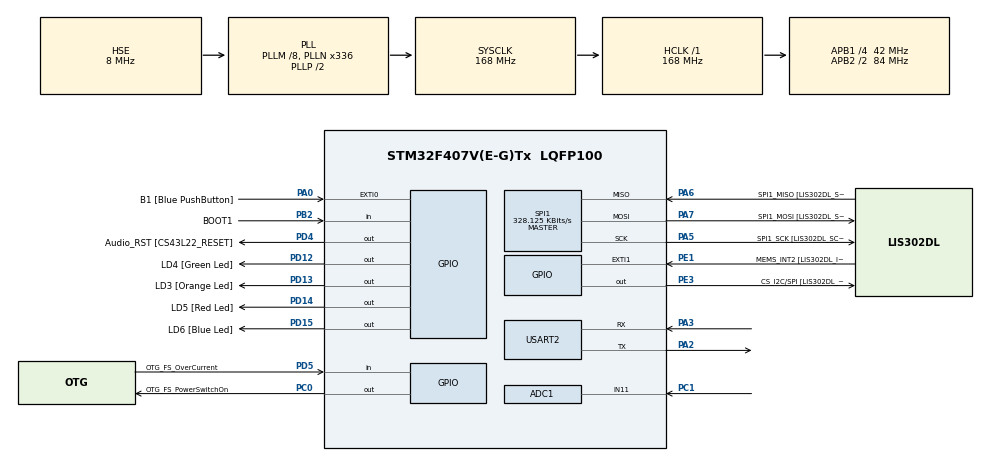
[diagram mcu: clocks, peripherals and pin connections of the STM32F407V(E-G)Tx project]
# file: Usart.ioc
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ADC1.Channel-0\#ChannelRegularConversion=ADC_CHANNEL_11
ADC1.ClockPrescaler=ADC_CLOCKPRESCALER_PCLK_DIV8
ADC1.ContinuousConvMode=DISABLE
ADC1.DMAContinuousRequests=ENABLE
ADC1.DataAlign=ADC_DATAALIGN_RIGHT
ADC1.DiscontinuousConvMode=DISABLE
ADC1.EOCSelection=EOC_SINGLE_CONV
ADC1.EnableAnalogWatchDog=false
ADC1.ExternalTrigConv=ADC_EXTERNALTRIGCONV_T2_TRGO
ADC1.ExternalTrigConvEdge=ADC_EXTERNALTRIGCONVEDGE_RISING
ADC1.InjNumberOfConversion=0
ADC1.NbrOfConversion=1
ADC1.NbrOfConversionFlag=1
ADC1.Rank-0\#ChannelRegularConversion=1
ADC1.Resolution=ADC_RESOLUTION12b
ADC1.SamplingTime-0\#ChannelRegularConversion=ADC_SAMPLETIME_3CYCLES
ADC1.ScanConvMode=DISABLE
ADC1.master=1
Dma.ADC1.0.Channel=DMA_CHANNEL_0
Dma.ADC1.0.Direction=DMA_PERIPH_TO_MEMORY
Dma.ADC1.0.FIFOMode=DMA_FIFOMODE_DISABLE
Dma.ADC1.0.Instance=DMA2_Stream0
Dma.ADC1.0.MemDataAlignment=DMA_MDATAALIGN_HALFWORD
Dma.ADC1.0.MemInc=DMA_MINC_ENABLE
Dma.ADC1.0.Mode=DMA_CIRCULAR
Dma.ADC1.0.PeriphDataAlignment=DMA_PDATAALIGN_HALFWORD
Dma.ADC1.0.PeriphInc=DMA_PINC_DISABLE
Dma.ADC1.0.Priority=DMA_PRIORITY_LOW
Dma.Request0=ADC1
Mcu.Family=STM32F4
Mcu.Name=STM32F407V(E-G)Tx
Mcu.Package=LQFP100
NVIC.DMA2_Stream0_IRQn=true\:0\:0\:false
NVIC.PriorityGroup=NVIC_PRIORITYGROUP_0
NVIC.TIM2_IRQn=true\:0\:0\:false
PA0-WKUP.GPIO_Label=B1 [Blue PushButton]
PA0-WKUP.GPIO_ModeDefaultEXTI=GPIO_MODE_EVT_RISING
PA0-WKUP.GPIO_PuPd=GPIO_NOPULL
PA0-WKUP.Signal=GPXTI0
PA10.GPIO_Label=OTG_FS_ID
PA10.GPIO_Mode=GPIO_MODE_AF_PP
PA10.GPIO_PuPd=GPIO_NOPULL
PA10.GPIO_Speed=GPIO_SPEED_LOW
PA10.Signal=USB_OTG_FS_ID
PA11.GPIO_Label=OTG_FS_DM
PA11.GPIO_Mode=GPIO_MODE_AF_PP
PA11.GPIO_PuPd=GPIO_NOPULL
PA11.GPIO_Speed=GPIO_SPEED_LOW
PA11.Signal=USB_OTG_FS_DM
PA12.GPIO_Label=OTG_FS_DP
PA12.GPIO_Mode=GPIO_MODE_AF_PP
PA12.GPIO_PuPd=GPIO_NOPULL
PA12.GPIO_Speed=GPIO_SPEED_LOW
PA12.Signal=USB_OTG_FS_DP
PA13.GPIO_Label=SWDIO
PA13.Mode=Trace-Asynchronous_SW
PA13.Signal=SYS_JTMS-SWDIO
PA14.GPIO_Label=SWCLK
PA14.Mode=Trace-Asynchronous_SW
PA14.Signal=SYS_JTCK-SWCLK
PA2.Mode=Asynchronous
PA2.Signal=USART2_TX
PA3.Mode=Asynchronous
PA3.Signal=USART2_RX
PA4.GPIO_Label=I2S3_WS [CS43L22_LRCK]
PA4.GPIO_Mode=GPIO_MODE_AF_PP
PA4.GPIO_PuPd=GPIO_NOPULL
PA4.GPIO_Speed=GPIO_SPEED_LOW
PA4.Signal=I2S3_WS
PA5.GPIO_Label=SPI1_SCK [LIS302DL_SCL/SPC]
PA5.GPIO_Mode=GPIO_MODE_AF_PP
PA5.GPIO_PuPd=GPIO_PULLUP
PA5.GPIO_Speed=GPIO_SPEED_LOW
PA5.Mode=Full_Duplex_Master
PA5.Signal=SPI1_SCK
PA6.GPIO_Label=SPI1_MISO [LIS302DL_SDO]
PA6.GPIO_Mode=GPIO_MODE_AF_PP
PA6.GPIO_PuPd=GPIO_PULLUP
PA6.GPIO_Speed=GPIO_SPEED_LOW
PA6.Mode=Full_Duplex_Master
PA6.Signal=SPI1_MISO
PA7.GPIO_Label=SPI1_MOSI [LIS302DL_SDA/SDI/SDO]
PA7.GPIO_Mode=GPIO_MODE_AF_PP
PA7.GPIO_PuPd=GPIO_PULLUP
PA7.GPIO_Speed=GPIO_SPEED_LOW
PA7.Mode=Full_Duplex_Master
PA7.Signal=SPI1_MOSI
PA9.GPIO_Label=VBUS_FS
PA9.GPIO_Mode=GPIO_MODE_INPUT
PA9.GPIO_PuPd=GPIO_NOPULL
PA9.Signal=USB_OTG_FS_VBUS
PB10.GPIO_Label=CLK_IN [MP45DT02_CLK]
PB10.GPIO_Mode=GPIO_MODE_AF_PP
PB10.GPIO_PuPd=GPIO_NOPULL
PB10.GPIO_Speed=GPIO_SPEED_LOW
PB10.Signal=I2S2_CK
PB2.GPIO_Label=BOOT1
PB2.GPIO_Mode=GPIO_MODE_INPUT
PB2.GPIO_PuPd=GPIO_NOPULL
PB2.Signal=GPIO_Input
PB3.GPIO_Label=SWO
PB3.Mode=Trace-Asynchronous_SW
PB3.Signal=SYS_JTDO-SWO
PB6.GPIO_Label=Audio_SCL [CS43L22_SCL]
PB6.GPIO_Mode=GPIO_MODE_AF_OD
PB6.GPIO_PuPd=GPIO_NOPULL
PB6.GPIO_Speed=GPIO_SPEED_LOW
PB6.Signal=I2C1_SCL
PB9.GPIO_Label=Audio_SDA [CS43L22_SDA]
PB9.GPIO_Mode=GPIO_MODE_AF_OD
PB9.GPIO_PuPd=GPIO_NOPULL
PB9.GPIO_Speed=GPIO_SPEED_LOW
PB9.Signal=I2C1_SDA
PC0.GPIO_Label=OTG_FS_PowerSwitchOn
PC0.GPIO_PuPd=GPIO_NOPULL
PC0.GPIO_Speed=GPIO_SPEED_LOW
PC0.Signal=GPIO_Output
PC1.Signal=ADCx_IN11
PC10.GPIO_Label=I2S3_SCK [CS43L22_SCLK]
PC10.GPIO_Mode=GPIO_MODE_AF_PP
PC10.GPIO_PuPd=GPIO_NOPULL
PC10.GPIO_Speed=GPIO_SPEED_LOW
PC10.Signal=I2S3_CK
PC12.GPIO_Label=I2S3_SD [CS43L22_SDIN]
PC12.GPIO_Mode=GPIO_MODE_AF_PP
PC12.GPIO_PuPd=GPIO_NOPULL
PC12.GPIO_Speed=GPIO_SPEED_LOW
PC12.Signal=I2S3_SD
PC14-OSC32_IN.GPIO_Label=PC14-OSC32_IN
PC14-OSC32_IN.Signal=RCC_OSC32_IN
PC15-OSC32_OUT.GPIO_Label=PC15-OSC32_OUT
PC15-OSC32_OUT.Signal=RCC_OSC32_OUT
PC3.GPIO_Label=PDM_OUT [MP45DT02_DOUT]
PC3.GPIO_Mode=GPIO_MODE_AF_PP
PC3.GPIO_PuPd=GPIO_NOPULL
PC3.GPIO_Speed=GPIO_SPEED_LOW
PC3.Signal=I2S2_SD
PC7.GPIO_Label=I2S3_MCK [CS43L22_MCLK]
PC7.GPIO_Mode=GPIO_MODE_AF_PP
PC7.GPIO_PuPd=GPIO_NOPULL
PC7.GPIO_Speed=GPIO_SPEED_LOW
PC7.Signal=I2S3_MCK
PD12.GPIO_Label=LD4 [Green Led]
PD12.GPIO_PuPd=GPIO_NOPULL
PD12.GPIO_Speed=GPIO_SPEED_LOW
PD12.Signal=GPIO_Output
PD13.GPIO_Label=LD3 [Orange Led]
PD13.GPIO_PuPd=GPIO_NOPULL
PD13.GPIO_Speed=GPIO_SPEED_LOW
PD13.Signal=GPIO_Output
PD14.GPIO_Label=LD5 [Red Led]
PD14.GPIO_PuPd=GPIO_NOPULL
PD14.GPIO_Speed=GPIO_SPEED_LOW
PD14.Signal=GPIO_Output
PD15.GPIO_Label=LD6 [Blue Led]
PD15.GPIO_PuPd=GPIO_NOPULL
PD15.GPIO_Speed=GPIO_SPEED_LOW
PD15.Signal=GPIO_Output
PD4.GPIO_Label=Audio_RST [CS43L22_RESET]
PD4.GPIO_PuPd=GPIO_NOPULL
PD4.GPIO_Speed=GPIO_SPEED_LOW
PD4.Signal=GPIO_Output
PD5.GPIO_Label=OTG_FS_OverCurrent
PD5.GPIO_Mode=GPIO_MODE_INPUT
PD5.GPIO_PuPd=GPIO_NOPULL
PD5.Signal=GPIO_Input
PE1.GPIO_Label=MEMS_INT2 [LIS302DL_INT2]
PE1.GPIO_ModeDefaultEXTI=GPIO_MODE_EVT_RISING
PE1.GPIO_PuPd=GPIO_NOPULL
PE1.Signal=GPXTI1
PE3.GPIO_Label=CS_I2C/SPI [LIS302DL_CS_I2C/SPI]
PE3.GPIO_PuPd=GPIO_PULLUP
PE3.GPIO_Speed=GPIO_SPEED_LOW
PE3.Signal=GPIO_Output
PH0-OSC_IN.GPIO_Label=PH0-OSC_IN
PH0-OSC_IN.Mode=HSE-External-Oscillator
PH0-OSC_IN.Signal=RCC_OSC_IN
PH1-OSC_OUT.GPIO_Label=PH1-OSC_OUT
PH1-OSC_OUT.Mode=HSE-External-Oscillator
PH1-OSC_OUT.Signal=RCC_OSC_OUT
ProjectManager.TargetToolchain=MDK-ARM V5
RCC.AHBFreq_Value=168000000
RCC.APB1CLKDivider=RCC_HCLK_DIV4
RCC.APB1Freq_Value=42000000
RCC.APB1TimFreq_Value=84000000
RCC.APB2CLKDivider=RCC_HCLK_DIV2
RCC.APB2Freq_Value=84000000
RCC.APB2TimFreq_Value=168000000
RCC.CortexFreq_Value=168000000
RCC.HCLKFreq_Value=168000000
RCC.HSE_VALUE=8000000
RCC.HSI_VALUE=16000000
RCC.LSE_VALUE=32768
RCC.PLLM=8
RCC.PLLN=336
RCC.PLLQ=7
RCC.PLLSourceVirtual=RCC_PLLSOURCE_HSE
RCC.SYSCLKFreq_VALUE=168000000
RCC.SYSCLKSource=RCC_SYSCLKSOURCE_PLLCLK
RCC.VCOOutputFreq_Value=336000000
SH.ADCx_IN11.0=ADC1_IN11,IN11
SPI1.BaudRatePrescaler=SPI_BAUDRATEPRESCALER_256
SPI1.CLKPhase=SPI_PHASE_2EDGE
SPI1.CalculateBaudRate=328.125 KBits/s
SPI1.Mode=SPI_MODE_MASTER
TIM2.Period=43749
TIM2.TIM_MasterOutputTrigger=TIM_TRGO_UPDATE
TIM2.TIM_MasterSlaveMode=TIM_MASTERSLAVEMODE_ENABLE
VP_TIM2_VS_ClockSourceINT.Mode=Internal
board=STM32F4DISCOVERY

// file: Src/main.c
/**
  ******************************************************************************
  * File Name          : main.c
  * Description        : Main program body
  ******************************************************************************
  *
  * COPYRIGHT(c) 2015 STMicroelectronics
  *
  * Redistribution and use in source and binary forms, with or without modification,
  * are permitted provided that the following conditions are met:
  *   1. Redistributions of source code must retain the above copyright notice,
  *      this list of conditions and the following disclaimer.
  *   2. Redistributions in binary form must reproduce the above copyright notice,
  *      this list of conditions and the following disclaimer in the documentation
  *      and/or other materials provided with the distribution.
  *   3. Neither the name of STMicroelectronics nor the names of its contributors
  *      may be used to endorse or promote products derived from this software
  *      without specific prior written permission.
  *
  * THIS SOFTWARE IS PROVIDED BY THE COPYRIGHT HOLDERS AND CONTRIBUTORS "AS IS"
  * AND ANY EXPRESS OR IMPLIED WARRANTIES, INCLUDING, BUT NOT LIMITED TO, THE
  * IMPLIED WARRANTIES OF MERCHANTABILITY AND FITNESS FOR A PARTICULAR PURPOSE ARE
  * DISCLAIMED. IN NO EVENT SHALL THE COPYRIGHT HOLDER OR CONTRIBUTORS BE LIABLE
  * FOR ANY DIRECT, INDIRECT, INCIDENTAL, SPECIAL, EXEMPLARY, OR CONSEQUENTIAL
  * DAMAGES (INCLUDING, BUT NOT LIMITED TO, PROCUREMENT OF SUBSTITUTE GOODS OR
  * SERVICES; LOSS OF USE, DATA, OR PROFITS; OR BUSINESS INTERRUPTION) HOWEVER
  * CAUSED AND ON ANY THEORY OF LIABILITY, WHETHER IN CONTRACT, STRICT LIABILITY,
  * OR TORT (INCLUDING NEGLIGENCE OR OTHERWISE) ARISING IN ANY WAY OUT OF THE USE
  * OF THIS SOFTWARE, EVEN IF ADVISED OF THE POSSIBILITY OF SUCH DAMAGE.
  *
  ******************************************************************************
  */
#include "stm32f4xx_hal.h"
#include "adc.h"
#include "dma.h"
#include "spi.h"
#include "tim.h"
#include "usart.h"
#include "gpio.h"

/* USER CODE BEGIN Includes */
#include "gpio.h"
#include "spi.h"
#include "nrf.h"
#include "rcc.h"
#include "disco.h"
#include "exti.h"
#include "delay.h"
#include "attributes.h"
/* USER CODE END Includes */

/* USER CODE BEGIN PV */
/* Private variables ---------------------------------------------------------*/

/* Receiver address */
uint8_t MyAddress[] = {
	0xE7,
	0xE7,
	0xE7,
	0xE7,
	0xE7
};

/* My address */
uint8_t TxAddress[] = {
	0x7E,
	0x7E,
	0x7E,
	0x7E,
	0x7E
};

uint8_t dataOut[10], dataIn[10];
char str[15];
NRF24L01_Transmit_Status_t transmissionStatus;
uint16_t data_frames = 3;
__IO uint16_t ADC_value[1024];

/* USER CODE END PV */

void SystemClock_Config(void);

/* USER CODE BEGIN PFP */
/* Private function prototypes -----------------------------------------------*/

/* USER CODE END PFP */

int main(void)
{

  /* MCU Configuration----------------------------------------------------------*/

  /* Reset of all peripherals, Initializes the Flash interface and the Systick. */
  HAL_Init();

  /* Configure the system clock */
  SystemClock_Config();

  /* Initialize all configured peripherals */
  MX_GPIO_Init();
  MX_DMA_Init();
  MX_ADC1_Init();
  MX_SPI1_Init();
  MX_TIM2_Init();
  MX_USART2_UART_Init();

  /* USER CODE BEGIN 2 */
	RCC_InitSystem();
	DISCO_LedInit();

	NRF24L01_Init(15, 10);
	NRF24L01_SetRF(NRF24L01_DataRate_250k, NRF24L01_OutputPower_0dBm);
	NRF24L01_SetMyAddress(MyAddress);
	NRF24L01_SetTxAddress(TxAddress);

	HAL_ADC_Start_DMA(&hadc1,(uint32_t*)&ADC_value,1024);
	HAL_TIM_Base_Start(&htim2);

  /* USER CODE END 2 */

  /* Infinite loop */
  while (1)
  {

  /* USER CODE BEGIN 3 */
			/* Fill data with something */
			sprintf((char *)dataOut, "abcdefghij");
			/* Transmit data, goes automatically to TX mode */
			NRF24L01_Transmit(dataOut);
			/* Turn on led to indicate sending */
			DISCO_LedOn(LED_GREEN);

			/* Wait for data to be sent */
			do {
				/* Get transmission status */
				transmissionStatus = NRF24L01_GetTransmissionStatus();
				DISCO_LedOn(LED_BLUE);
			} while (transmissionStatus == NRF24L01_Transmit_Status_Sending);

			DISCO_LedOn(LED_RED);
			/* Go back to RX mode */
			NRF24L01_PowerUpRx();
			DISCO_LedOn(LED_ORANGE);

			/* Check transmit status */
			if (transmissionStatus == NRF24L01_Transmit_Status_Ok) {
				/* Transmit went OK */
				//USART_Puts(USART1, ": OK\n");
			} else if (transmissionStatus == NRF24L01_Transmit_Status_Lost) {
				/* Message was LOST */
				//USART_Puts(USART1, ": LOST\n");
			} else {
				/* This should never happen */
				//USART_Puts(USART1, ": SENDING\n");
			}
			DISCO_LedOff(LED_GREEN);
			DISCO_LedOff(LED_BLUE);
			DISCO_LedOff(LED_RED);
			DISCO_LedOff(LED_ORANGE);

		}

  /* USER CODE END 3 */

}

/** System Clock Configuration
*/
void SystemClock_Config(void)
{

  RCC_OscInitTypeDef RCC_OscInitStruct;
  RCC_ClkInitTypeDef RCC_ClkInitStruct;

  __PWR_CLK_ENABLE();

  __HAL_PWR_VOLTAGESCALING_CONFIG(PWR_REGULATOR_VOLTAGE_SCALE1);

  RCC_OscInitStruct.OscillatorType = RCC_OSCILLATORTYPE_HSE;
  RCC_OscInitStruct.HSEState = RCC_HSE_ON;
  RCC_OscInitStruct.PLL.PLLState = RCC_PLL_ON;
  RCC_OscInitStruct.PLL.PLLSource = RCC_PLLSOURCE_HSE;
  RCC_OscInitStruct.PLL.PLLM = 8;
  RCC_OscInitStruct.PLL.PLLN = 336;
  RCC_OscInitStruct.PLL.PLLP = RCC_PLLP_DIV2;
  RCC_OscInitStruct.PLL.PLLQ = 7;
  HAL_RCC_OscConfig(&RCC_OscInitStruct);

  RCC_ClkInitStruct.ClockType = RCC_CLOCKTYPE_SYSCLK|RCC_CLOCKTYPE_PCLK1
                              |RCC_CLOCKTYPE_PCLK2;
  RCC_ClkInitStruct.SYSCLKSource = RCC_SYSCLKSOURCE_PLLCLK;
  RCC_ClkInitStruct.AHBCLKDivider = RCC_SYSCLK_DIV1;
  RCC_ClkInitStruct.APB1CLKDivider = RCC_HCLK_DIV4;
  RCC_ClkInitStruct.APB2CLKDivider = RCC_HCLK_DIV2;
  HAL_RCC_ClockConfig(&RCC_ClkInitStruct, FLASH_LATENCY_5);

  HAL_SYSTICK_Config(HAL_RCC_GetHCLKFreq()/1000);

  HAL_SYSTICK_CLKSourceConfig(SYSTICK_CLKSOURCE_HCLK);

  /* SysTick_IRQn interrupt configuration */
  HAL_NVIC_SetPriority(SysTick_IRQn, 0, 0);
}

/************************ (C) COPYRIGHT STMicroelectronics *****END OF FILE****/
